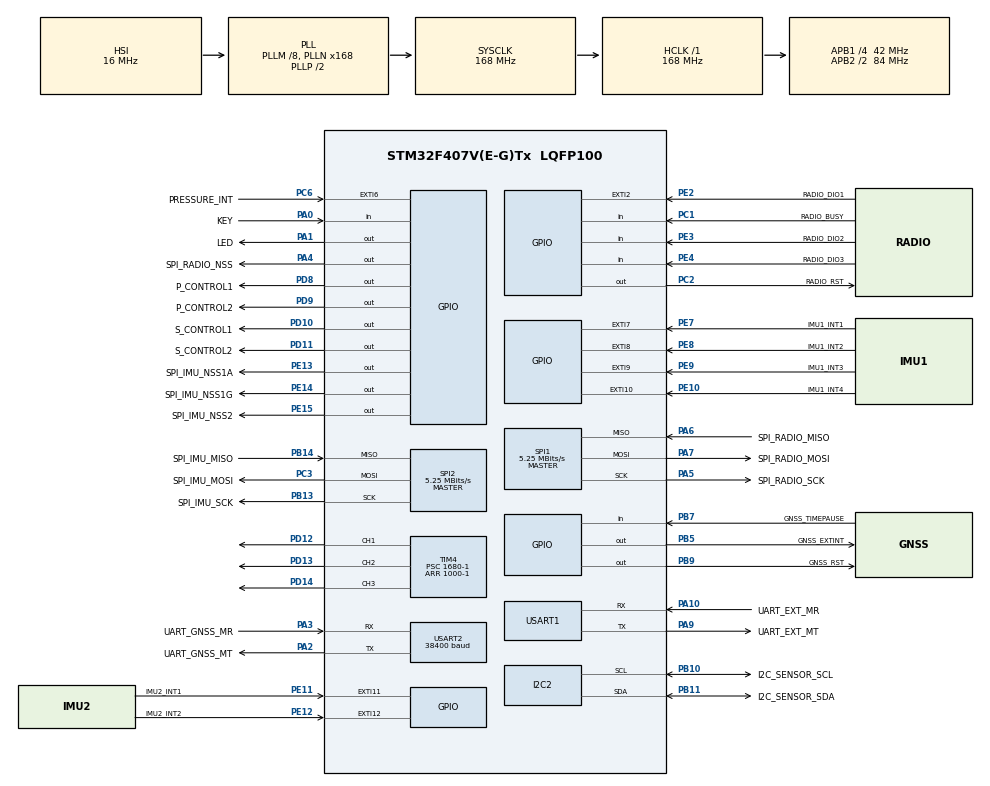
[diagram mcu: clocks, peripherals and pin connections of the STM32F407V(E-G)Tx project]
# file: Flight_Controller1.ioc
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Dma.Request0=SPI1_RX
Dma.Request1=SPI1_TX
Dma.Request2=USART1_RX
Dma.Request3=USART1_TX
Dma.Request4=USART2_RX
Dma.Request5=USART2_TX
Dma.SPI1_RX.0.Direction=DMA_PERIPH_TO_MEMORY
Dma.SPI1_RX.0.FIFOMode=DMA_FIFOMODE_DISABLE
Dma.SPI1_RX.0.Instance=DMA2_Stream0
Dma.SPI1_RX.0.MemDataAlignment=DMA_MDATAALIGN_BYTE
Dma.SPI1_RX.0.MemInc=DMA_MINC_ENABLE
Dma.SPI1_RX.0.Mode=DMA_NORMAL
Dma.SPI1_RX.0.PeriphDataAlignment=DMA_PDATAALIGN_BYTE
Dma.SPI1_RX.0.PeriphInc=DMA_PINC_DISABLE
Dma.SPI1_RX.0.Priority=DMA_PRIORITY_LOW
Dma.SPI1_TX.1.Direction=DMA_MEMORY_TO_PERIPH
Dma.SPI1_TX.1.FIFOMode=DMA_FIFOMODE_DISABLE
Dma.SPI1_TX.1.Instance=DMA2_Stream3
Dma.SPI1_TX.1.MemDataAlignment=DMA_MDATAALIGN_BYTE
Dma.SPI1_TX.1.MemInc=DMA_MINC_ENABLE
Dma.SPI1_TX.1.Mode=DMA_NORMAL
Dma.SPI1_TX.1.PeriphDataAlignment=DMA_PDATAALIGN_BYTE
Dma.SPI1_TX.1.PeriphInc=DMA_PINC_DISABLE
Dma.SPI1_TX.1.Priority=DMA_PRIORITY_LOW
Dma.USART1_RX.2.Direction=DMA_PERIPH_TO_MEMORY
Dma.USART1_RX.2.FIFOMode=DMA_FIFOMODE_DISABLE
Dma.USART1_RX.2.Instance=DMA2_Stream2
Dma.USART1_RX.2.MemDataAlignment=DMA_MDATAALIGN_BYTE
Dma.USART1_RX.2.MemInc=DMA_MINC_ENABLE
Dma.USART1_RX.2.Mode=DMA_NORMAL
Dma.USART1_RX.2.PeriphDataAlignment=DMA_PDATAALIGN_BYTE
Dma.USART1_RX.2.PeriphInc=DMA_PINC_DISABLE
Dma.USART1_RX.2.Priority=DMA_PRIORITY_LOW
Dma.USART1_TX.3.Direction=DMA_MEMORY_TO_PERIPH
Dma.USART1_TX.3.FIFOMode=DMA_FIFOMODE_DISABLE
Dma.USART1_TX.3.Instance=DMA2_Stream7
Dma.USART1_TX.3.MemDataAlignment=DMA_MDATAALIGN_BYTE
Dma.USART1_TX.3.MemInc=DMA_MINC_ENABLE
Dma.USART1_TX.3.Mode=DMA_NORMAL
Dma.USART1_TX.3.PeriphDataAlignment=DMA_PDATAALIGN_BYTE
Dma.USART1_TX.3.PeriphInc=DMA_PINC_DISABLE
Dma.USART1_TX.3.Priority=DMA_PRIORITY_LOW
Dma.USART2_RX.4.Direction=DMA_PERIPH_TO_MEMORY
Dma.USART2_RX.4.FIFOMode=DMA_FIFOMODE_DISABLE
Dma.USART2_RX.4.Instance=DMA1_Stream5
Dma.USART2_RX.4.MemDataAlignment=DMA_MDATAALIGN_BYTE
Dma.USART2_RX.4.MemInc=DMA_MINC_ENABLE
Dma.USART2_RX.4.Mode=DMA_NORMAL
Dma.USART2_RX.4.PeriphDataAlignment=DMA_PDATAALIGN_BYTE
Dma.USART2_RX.4.PeriphInc=DMA_PINC_DISABLE
Dma.USART2_RX.4.Priority=DMA_PRIORITY_LOW
Dma.USART2_TX.5.Direction=DMA_MEMORY_TO_PERIPH
Dma.USART2_TX.5.FIFOMode=DMA_FIFOMODE_DISABLE
Dma.USART2_TX.5.Instance=DMA1_Stream6
Dma.USART2_TX.5.MemDataAlignment=DMA_MDATAALIGN_BYTE
Dma.USART2_TX.5.MemInc=DMA_MINC_ENABLE
Dma.USART2_TX.5.Mode=DMA_NORMAL
Dma.USART2_TX.5.PeriphDataAlignment=DMA_PDATAALIGN_BYTE
Dma.USART2_TX.5.PeriphInc=DMA_PINC_DISABLE
Dma.USART2_TX.5.Priority=DMA_PRIORITY_LOW
FREERTOS.Tasks01=defaultTask,24,128,StartDefaultTask,Default,NULL,Dynamic,NULL,NULL;KEY_SCAN_TASK,8,128,StartKEY_SCAN_TASK,As weak,NULL,Dynamic,NULL,NULL;TEST_TASK,8,1280,StartTEST_TASK,As weak,NULL,Dynamic,NULL,NULL;RADIO_TXRX_TASK,8,512,StartRADIO_TXRX_TASK,As weak,NULL,Dynamic,NULL,NULL;SENSOR_R_TASK,8,640,StartSENSOR_R_TASK,As weak,NULL,Dynamic,NULL,NULL
I2C2.I2C_Mode=I2C_Fast
Mcu.Family=STM32F4
Mcu.Name=STM32F407V(E-G)Tx
Mcu.Package=LQFP100
NVIC.DMA1_Stream5_IRQn=true\:5\:0\:false\:false\:true\:true\:false\:true\:true
NVIC.DMA1_Stream6_IRQn=true\:5\:0\:false\:false\:true\:true\:false\:true\:true
NVIC.DMA2_Stream0_IRQn=true\:5\:0\:false\:false\:true\:true\:false\:true\:true
NVIC.DMA2_Stream2_IRQn=true\:5\:0\:false\:false\:true\:true\:false\:true\:true
NVIC.DMA2_Stream3_IRQn=true\:5\:0\:false\:false\:true\:true\:false\:true\:true
NVIC.DMA2_Stream7_IRQn=true\:5\:0\:false\:false\:true\:true\:false\:true\:true
NVIC.EXTI15_10_IRQn=true\:5\:0\:false\:false\:true\:true\:true\:true\:true
NVIC.EXTI2_IRQn=true\:5\:0\:false\:false\:true\:true\:true\:true\:true
NVIC.EXTI9_5_IRQn=true\:5\:0\:false\:false\:true\:true\:true\:true\:true
NVIC.PriorityGroup=NVIC_PRIORITYGROUP_4
NVIC.SPI1_IRQn=true\:5\:0\:false\:false\:true\:true\:true\:true\:true
NVIC.TIM1_UP_TIM10_IRQn=true\:15\:0\:false\:false\:true\:false\:false\:true\:true
NVIC.TimeBase=TIM1_UP_TIM10_IRQn
NVIC.TimeBaseIP=TIM1
NVIC.USART1_IRQn=true\:5\:0\:false\:false\:true\:true\:true\:true\:true
NVIC.USART2_IRQn=true\:5\:0\:false\:false\:true\:true\:true\:true\:true
PA0-WKUP.GPIO_Label=KEY
PA0-WKUP.Signal=GPIO_Input
PA1.GPIO_Label=LED
PA1.Signal=GPIO_Output
PA10.GPIO_Label=UART_EXT_MR
PA10.Mode=Asynchronous
PA10.Signal=USART1_RX
PA13.Mode=Serial_Wire
PA13.Signal=SYS_JTMS-SWDIO
PA14.Mode=Serial_Wire
PA14.Signal=SYS_JTCK-SWCLK
PA2.GPIO_Label=UART_GNSS_MT
PA2.Mode=Asynchronous
PA2.Signal=USART2_TX
PA3.GPIO_Label=UART_GNSS_MR
PA3.Mode=Asynchronous
PA3.Signal=USART2_RX
PA4.GPIO_Label=SPI_RADIO_NSS
PA4.GPIO_PuPd=GPIO_PULLUP
PA4.PinState=GPIO_PIN_SET
PA4.Signal=GPIO_Output
PA5.GPIO_Label=SPI_RADIO_SCK
PA5.Mode=Full_Duplex_Master
PA5.Signal=SPI1_SCK
PA6.GPIO_Label=SPI_RADIO_MISO
PA6.Mode=Full_Duplex_Master
PA6.Signal=SPI1_MISO
PA7.GPIO_Label=SPI_RADIO_MOSI
PA7.Mode=Full_Duplex_Master
PA7.Signal=SPI1_MOSI
PA9.GPIO_Label=UART_EXT_MT
PA9.Mode=Asynchronous
PA9.Signal=USART1_TX
PB10.GPIO_Label=I2C_SENSOR_SCL
PB10.Mode=I2C
PB10.Signal=I2C2_SCL
PB11.GPIO_Label=I2C_SENSOR_SDA
PB11.Mode=I2C
PB11.Signal=I2C2_SDA
PB13.GPIO_Label=SPI_IMU_SCK
PB13.Mode=Full_Duplex_Master
PB13.Signal=SPI2_SCK
PB14.GPIO_Label=SPI_IMU_MISO
PB14.Mode=Full_Duplex_Master
PB14.Signal=SPI2_MISO
PB5.GPIO_Label=GNSS_EXTINT
PB5.Signal=GPIO_Output
PB7.GPIO_Label=GNSS_TIMEPAUSE
PB7.Signal=GPIO_Input
PB9.GPIO_Label=GNSS_RST
PB9.GPIO_PuPd=GPIO_PULLUP
PB9.PinState=GPIO_PIN_SET
PB9.Signal=GPIO_Output
PC1.GPIO_Label=RADIO_BUSY
PC1.Signal=GPIO_Input
PC2.GPIO_Label=RADIO_RST
PC2.GPIO_PuPd=GPIO_PULLUP
PC2.PinState=GPIO_PIN_SET
PC2.Signal=GPIO_Output
PC3.GPIO_Label=SPI_IMU_MOSI
PC3.Mode=Full_Duplex_Master
PC3.Signal=SPI2_MOSI
PC6.GPIO_Label=PRESSURE_INT
PC6.Signal=GPXTI6
PD10.GPIO_Label=S_CONTROL1
PD10.Signal=GPIO_Output
PD11.GPIO_Label=S_CONTROL2
PD11.Signal=GPIO_Output
PD12.Signal=S_TIM4_CH1
PD13.Signal=S_TIM4_CH2
PD14.Signal=S_TIM4_CH3
PD8.GPIO_Label=P_CONTROL1
PD8.Signal=GPIO_Output
PD9.GPIO_Label=P_CONTROL2
PD9.Signal=GPIO_Output
PE10.GPIO_Label=IMU1_INT4
PE10.Signal=GPXTI10
PE11.GPIO_Label=IMU2_INT1
PE11.Signal=GPXTI11
PE12.GPIO_Label=IMU2_INT2
PE12.Signal=GPXTI12
PE13.GPIO_Label=SPI_IMU_NSS1A
PE13.GPIO_PuPd=GPIO_PULLUP
PE13.PinState=GPIO_PIN_SET
PE13.Signal=GPIO_Output
PE14.GPIO_Label=SPI_IMU_NSS1G
PE14.GPIO_PuPd=GPIO_PULLUP
PE14.PinState=GPIO_PIN_SET
PE14.Signal=GPIO_Output
PE15.GPIO_Label=SPI_IMU_NSS2
PE15.GPIO_PuPd=GPIO_PULLUP
PE15.PinState=GPIO_PIN_SET
PE15.Signal=GPIO_Output
PE2.GPIO_Label=RADIO_DIO1
PE2.Signal=GPXTI2
PE3.GPIO_Label=RADIO_DIO2
PE3.Signal=GPIO_Input
PE4.GPIO_Label=RADIO_DIO3
PE4.Signal=GPIO_Input
PE7.GPIO_Label=IMU1_INT1
PE7.Signal=GPXTI7
PE8.GPIO_Label=IMU1_INT2
PE8.Signal=GPXTI8
PE9.GPIO_Label=IMU1_INT3
PE9.Signal=GPXTI9
PH0-OSC_IN.Mode=HSE-External-Oscillator
PH0-OSC_IN.Signal=RCC_OSC_IN
PH1-OSC_OUT.Mode=HSE-External-Oscillator
PH1-OSC_OUT.Signal=RCC_OSC_OUT
ProjectManager.HeapSize=0x200
ProjectManager.StackSize=0x400
ProjectManager.TargetToolchain=Makefile
RCC.48MHZClocksFreq_Value=84000000
RCC.AHBFreq_Value=168000000
RCC.APB1CLKDivider=RCC_HCLK_DIV4
RCC.APB1Freq_Value=42000000
RCC.APB1TimFreq_Value=84000000
RCC.APB2CLKDivider=RCC_HCLK_DIV2
RCC.APB2Freq_Value=84000000
RCC.APB2TimFreq_Value=168000000
RCC.CortexFreq_Value=168000000
RCC.HCLKFreq_Value=168000000
RCC.HSE_VALUE=25000000
RCC.HSI_VALUE=16000000
RCC.LSE_VALUE=32768
RCC.PLLM=8
RCC.PLLN=168
RCC.SYSCLKFreq_VALUE=168000000
RCC.SYSCLKSource=RCC_SYSCLKSOURCE_PLLCLK
RCC.VCOOutputFreq_Value=336000000
SH.S_TIM4_CH1.0=TIM4_CH1,PWM Generation1 CH1
SH.S_TIM4_CH2.0=TIM4_CH2,PWM Generation2 CH2
SH.S_TIM4_CH3.0=TIM4_CH3,PWM Generation3 CH3
SPI1.BaudRatePrescaler=SPI_BAUDRATEPRESCALER_16
SPI1.CalculateBaudRate=5.25 MBits/s
SPI1.Direction=SPI_DIRECTION_2LINES
SPI1.Mode=SPI_MODE_MASTER
SPI1.VirtualType=VM_MASTER
SPI2.BaudRatePrescaler=SPI_BAUDRATEPRESCALER_8
SPI2.CalculateBaudRate=5.25 MBits/s
SPI2.Direction=SPI_DIRECTION_2LINES
SPI2.Mode=SPI_MODE_MASTER
SPI2.VirtualType=VM_MASTER
TIM4.Channel-PWM\ Generation1\ CH1=TIM_CHANNEL_1
TIM4.Channel-PWM\ Generation2\ CH2=TIM_CHANNEL_2
TIM4.Channel-PWM\ Generation3\ CH3=TIM_CHANNEL_3
TIM4.Period=1000-1
TIM4.Prescaler=1680-1
USART1.VirtualMode=VM_ASYNC
USART2.BaudRate=38400
USART2.VirtualMode=VM_ASYNC
VP_FREERTOS_VS_CMSIS_V2.Mode=CMSIS_V2
VP_SYS_VS_tim1.Mode=TIM1
VP_TIM4_VS_ClockSourceINT.Mode=Internal
board=custom

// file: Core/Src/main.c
/* USER CODE BEGIN Header */
/**
  ******************************************************************************
  * @file           : main.c
  * @brief          : Main program body
  ******************************************************************************
  * @attention
  *
  * Copyright (c) 2026 STMicroelectronics.
  * All rights reserved.
  *
  * This software is licensed under terms that can be found in the LICENSE file
  * in the root directory of this software component.
  * If no LICENSE file comes with this software, it is provided AS-IS.
  *
  ******************************************************************************
  */
/* USER CODE END Header */
#include "main.h"
#include "cmsis_os.h"
#include "dma.h"
#include "i2c.h"
#include "spi.h"
#include "tim.h"
#include "usart.h"
#include "gpio.h"

/* USER CODE BEGIN Includes */
#include "debug_log.h"
#include "imu_manager.h"
#include "lora_sx1281.h"
#include "PWM_servo.h"
#include "PWR_out.h"
#include "sensors.h"
/* USER CODE END Includes */

void SystemClock_Config(void);
void MX_FREERTOS_Init(void);

int main(void)
{

  /* MCU Configuration--------------------------------------------------------*/

  /* Reset of all peripherals, Initializes the Flash interface and the Systick. */
  HAL_Init();

  /* Configure the system clock */
  SystemClock_Config();

  /* Initialize all configured peripherals */
  MX_GPIO_Init();
  MX_DMA_Init();
  MX_USART1_UART_Init();
  MX_SPI1_Init();
  MX_USART2_UART_Init();
  MX_SPI2_Init();
  MX_I2C2_Init();
  MX_TIM4_Init();
  /* USER CODE BEGIN 2 */
  DebugLog_Init();
  DebugLog_Print("Debug serial init");

  PwrOut_Init();
  if (PwmServo_Init() != PWM_SERVO_INIT_OK)
  {
    Error_Handler();
  }
  DebugLog_Print("Output init");

  Sensors_Init();
  DebugLog_Print("Sensors init");
  ImuManager_Init();
  DebugLog_Print("IMU init");

  Lora_Init();
  DebugLog_Print("LoRa init");
  /* USER CODE END 2 */

  /* Init scheduler */
  osKernelInitialize();  /* Call init function for freertos objects (in cmsis_os2.c) */
  MX_FREERTOS_Init();

  /* Start scheduler */
  osKernelStart();

  /* We should never get here as control is now taken by the scheduler */

  /* Infinite loop */
  while (1)
  {

  }
}

void SystemClock_Config(void)
{
  RCC_OscInitTypeDef RCC_OscInitStruct = {0};
  RCC_ClkInitTypeDef RCC_ClkInitStruct = {0};

  /** Configure the main internal regulator output voltage
  */
  __HAL_RCC_PWR_CLK_ENABLE();
  __HAL_PWR_VOLTAGESCALING_CONFIG(PWR_REGULATOR_VOLTAGE_SCALE1);

  /** Initializes the RCC Oscillators according to the specified parameters
  * in the RCC_OscInitTypeDef structure.
  */
  RCC_OscInitStruct.OscillatorType = RCC_OSCILLATORTYPE_HSI;
  RCC_OscInitStruct.HSIState = RCC_HSI_ON;
  RCC_OscInitStruct.HSICalibrationValue = RCC_HSICALIBRATION_DEFAULT;
  RCC_OscInitStruct.PLL.PLLState = RCC_PLL_ON;
  RCC_OscInitStruct.PLL.PLLSource = RCC_PLLSOURCE_HSI;
  RCC_OscInitStruct.PLL.PLLM = 8;
  RCC_OscInitStruct.PLL.PLLN = 168;
  RCC_OscInitStruct.PLL.PLLP = RCC_PLLP_DIV2;
  RCC_OscInitStruct.PLL.PLLQ = 4;
  if (HAL_RCC_OscConfig(&RCC_OscInitStruct) != HAL_OK)
  {
    Error_Handler();
  }

  /** Initializes the CPU, AHB and APB buses clocks
  */
  RCC_ClkInitStruct.ClockType = RCC_CLOCKTYPE_HCLK|RCC_CLOCKTYPE_SYSCLK
                              |RCC_CLOCKTYPE_PCLK1|RCC_CLOCKTYPE_PCLK2;
  RCC_ClkInitStruct.SYSCLKSource = RCC_SYSCLKSOURCE_PLLCLK;
  RCC_ClkInitStruct.AHBCLKDivider = RCC_SYSCLK_DIV1;
  RCC_ClkInitStruct.APB1CLKDivider = RCC_HCLK_DIV4;
  RCC_ClkInitStruct.APB2CLKDivider = RCC_HCLK_DIV2;

  if (HAL_RCC_ClockConfig(&RCC_ClkInitStruct, FLASH_LATENCY_5) != HAL_OK)
  {
    Error_Handler();
  }
}

void HAL_TIM_PeriodElapsedCallback(TIM_HandleTypeDef *htim)
{
  if (htim->Instance == TIM1)
  {
    HAL_IncTick();
  }
}

void Error_Handler(void)
{
  __disable_irq();
  while (1)
  {
  }
}

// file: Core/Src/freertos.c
/* USER CODE BEGIN Header */
/**
  ******************************************************************************
  * File Name          : freertos.c
  * Description        : Code for freertos applications
  ******************************************************************************
  * @attention
  *
  * Copyright (c) 2026 STMicroelectronics.
  * All rights reserved.
  *
  * This software is licensed under terms that can be found in the LICENSE file
  * in the root directory of this software component.
  * If no LICENSE file comes with this software, it is provided AS-IS.
  *
  ******************************************************************************
  */
/* USER CODE END Header */

#include "FreeRTOS.h"
#include "task.h"
#include "main.h"
#include "cmsis_os.h"

/* Definitions for defaultTask */
osThreadId_t defaultTaskHandle;
const osThreadAttr_t defaultTask_attributes = {
  .name = "defaultTask",
  .stack_size = 128 * 4,
  .priority = (osPriority_t) osPriorityNormal,
};
/* Definitions for KEY_SCAN_TASK */
osThreadId_t KEY_SCAN_TASKHandle;
const osThreadAttr_t KEY_SCAN_TASK_attributes = {
  .name = "KEY_SCAN_TASK",
  .stack_size = 128 * 4,
  .priority = (osPriority_t) osPriorityLow,
};
/* Definitions for TEST_TASK */
osThreadId_t TEST_TASKHandle;
const osThreadAttr_t TEST_TASK_attributes = {
  .name = "TEST_TASK",
  .stack_size = 1280 * 4,
  .priority = (osPriority_t) osPriorityLow,
};
/* Definitions for RADIO_TXRX_TASK */
osThreadId_t RADIO_TXRX_TASKHandle;
const osThreadAttr_t RADIO_TXRX_TASK_attributes = {
  .name = "RADIO_TXRX_TASK",
  .stack_size = 512 * 4,
  .priority = (osPriority_t) osPriorityLow,
};
/* Definitions for SENSOR_R_TASK */
osThreadId_t SENSOR_R_TASKHandle;
const osThreadAttr_t SENSOR_R_TASK_attributes = {
  .name = "SENSOR_R_TASK",
  .stack_size = 640 * 4,
  .priority = (osPriority_t) osPriorityLow,
};

void StartDefaultTask(void *argument);
void StartKEY_SCAN_TASK(void *argument);
void StartTEST_TASK(void *argument);
void StartRADIO_TXRX_TASK(void *argument);
void StartSENSOR_R_TASK(void *argument);

void MX_FREERTOS_Init(void); /* (MISRA C 2004 rule 8.1) */

void MX_FREERTOS_Init(void) {

  /* Create the thread(s) */
  /* creation of defaultTask */
  defaultTaskHandle = osThreadNew(StartDefaultTask, NULL, &defaultTask_attributes);

  /* creation of KEY_SCAN_TASK */
  KEY_SCAN_TASKHandle = osThreadNew(StartKEY_SCAN_TASK, NULL, &KEY_SCAN_TASK_attributes);

  /* creation of TEST_TASK */
  TEST_TASKHandle = osThreadNew(StartTEST_TASK, NULL, &TEST_TASK_attributes);

  /* creation of RADIO_TXRX_TASK */
  RADIO_TXRX_TASKHandle = osThreadNew(StartRADIO_TXRX_TASK, NULL, &RADIO_TXRX_TASK_attributes);

  /* creation of SENSOR_R_TASK */
  SENSOR_R_TASKHandle = osThreadNew(StartSENSOR_R_TASK, NULL, &SENSOR_R_TASK_attributes);

}

void StartDefaultTask(void *argument)
{
  for(;;)
  {
    osDelay(1);
  }
}

__weak void StartKEY_SCAN_TASK(void *argument)
{
  for(;;)
  {
    osDelay(1);
  }
}

__weak void StartTEST_TASK(void *argument)
{
  for(;;)
  {
    osDelay(1);
  }
}

__weak void StartRADIO_TXRX_TASK(void *argument)
{
  for(;;)
  {
    osDelay(1);
  }
}

__weak void StartSENSOR_R_TASK(void *argument)
{
  for(;;)
  {
    osDelay(1);
  }
}
